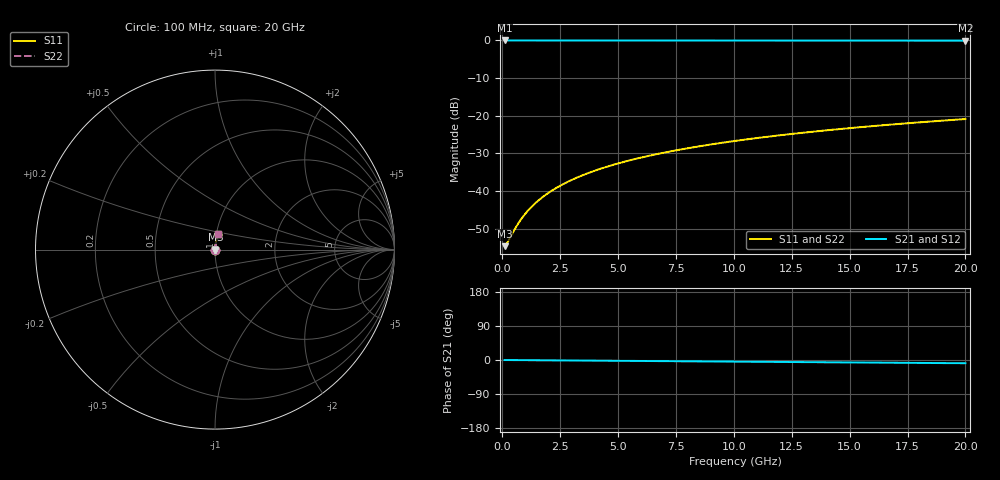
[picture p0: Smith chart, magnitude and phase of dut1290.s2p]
! Touchstone file exported from HFSS 2026.1.0
!  File:  C:/ffzhzh/LocalFiles/Ansys_Project_Files/temp_train_TSV_1290_1783194519_43440.aedt
!  Generated:  03:51:23 AM Jul  5, 2026
!  Design:  TSV
!  Project:  temp_train_TSV_1290_1783194519_43440
! Variables:
!  h_bsmrdl = 2um
!  h_ox = 20um
!  h_rdl = 5um
!  h_sub = 68.05um
!  h_tmrdl = 5um
!  h_tsv = 68.05um
!  h_via = 3um
!  l_bsmrdl = 300um
!  l_sub = 404.18um
!  l_tmrdl = 200um
!  m_sub = 200um
!  pitch = 28.47um
!  r_tsv = 2.09um
!  s_tmrdl = 10um
!  w_bsmrdl = 18um
!  w_sub = 500um
!  w_tmrdl = 12um
!  x_tsv_center1 = 206um
!  x_tsv_center2 = 524um
!  x_tsv_center3 = 736um
!  x_tsv_center4 = 1054um
!  x_tsv_center5 = 1266um
!  x_tsv_center6 = 1584um
# GHz S MA R 50.000000
! Terminal data exported
! Port[1] = TSV1_1_T1
! Port[2] = TSV1_1_T2
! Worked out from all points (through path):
!   200 points, 100 MHz to 20 GHz, reference 50 ohm
!   highest |S21| = -0.02 dB at 100 MHz (marker M1); lowest = -0.1 dB at 20 GHz (marker M2)
!   group delay of S21, straight-line fit = 1.19 ps
!   lowest |S11| = -54.6 dB at 100 MHz (marker M3), VSWR 1.00, Z = 50.2 + j0.0473 ohm
!   |S11| at or under -10 dB: start of sweep to end of sweep
!   |S22| runs from -54.6 to -20.9 dB; largest |S21 - S12| = 6e-15
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0.1  0.00186 14.7  0.9982 -0.0  0.9982 -0.0  0.00186 14.7
! Gamma 0 0 0 0
! Port Impedance 50 0 50 0
0.2  0.002035 27.6  0.9982 -0.1  0.9982 -0.1  0.002035 27.6
0.6  0.003361 56.9  0.9982 -0.3  0.9982 -0.3  0.003361 56.9
0.8  0.00418 63.6  0.9982 -0.3  0.9982 -0.3  0.00418 63.6
0.9  0.004605 66.0  0.9981 -0.4  0.9981 -0.4  0.004605 66.0
1.1  0.005472 69.7  0.9981 -0.5  0.9981 -0.5  0.005472 69.7
1.4  0.006802 73.5  0.9981 -0.6  0.9981 -0.6  0.006802 73.5
1.6  0.0077 75.2  0.9981 -0.7  0.9981 -0.7  0.0077 75.2
1.8  0.008604 76.6  0.9981 -0.8  0.9981 -0.8  0.008604 76.6
2.3  0.01088 78.9  0.998 -1.0  0.998 -1.0  0.01088 78.9
2.9  0.01363 80.6  0.998 -1.3  0.998 -1.3  0.01363 80.6
3.5  0.01639 81.6  0.9979 -1.5  0.9979 -1.5  0.01639 81.6
4.2  0.01961 82.3  0.9978 -1.8  0.9978 -1.8  0.01961 82.3
5  0.02329 82.7  0.9976 -2.2  0.9976 -2.2  0.02329 82.7
5.9  0.02742 82.9  0.9975 -2.6  0.9975 -2.6  0.02742 82.9
6.8  0.03155 83.0  0.9972 -2.9  0.9972 -2.9  0.03155 83.0
8.3  0.0384 82.8  0.9968 -3.6  0.9968 -3.6  0.0384 82.8
10.1  0.04657 82.4  0.9963 -4.4  0.9963 -4.4  0.04657 82.4
11.7  0.05379 81.9  0.9957 -5.0  0.9957 -5.0  0.05379 81.9
13.4  0.0614 81.4  0.995 -5.8  0.995 -5.8  0.0614 81.4
16.7  0.07604 80.2  0.9936 -7.2  0.9936 -7.2  0.07604 80.2
20  0.09049 79.0  0.992 -8.5  0.992 -8.5  0.09049 79.0
